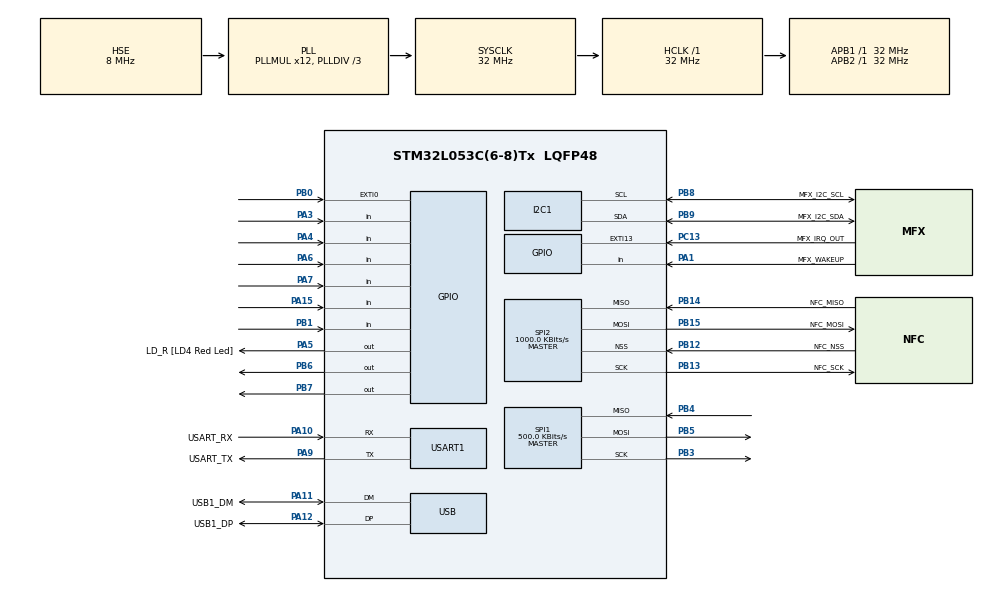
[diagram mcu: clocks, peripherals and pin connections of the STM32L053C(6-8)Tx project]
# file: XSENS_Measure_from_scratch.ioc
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Dma.Request0=USART1_RX
Dma.Request1=USART1_TX
Dma.USART1_RX.0.Direction=DMA_PERIPH_TO_MEMORY
Dma.USART1_RX.0.Instance=DMA1_Channel3
Dma.USART1_RX.0.MemDataAlignment=DMA_MDATAALIGN_BYTE
Dma.USART1_RX.0.MemInc=DMA_MINC_ENABLE
Dma.USART1_RX.0.Mode=DMA_CIRCULAR
Dma.USART1_RX.0.PeriphDataAlignment=DMA_PDATAALIGN_BYTE
Dma.USART1_RX.0.PeriphInc=DMA_PINC_DISABLE
Dma.USART1_RX.0.Priority=DMA_PRIORITY_LOW
Dma.USART1_TX.1.Direction=DMA_MEMORY_TO_PERIPH
Dma.USART1_TX.1.Instance=DMA1_Channel2
Dma.USART1_TX.1.MemDataAlignment=DMA_MDATAALIGN_BYTE
Dma.USART1_TX.1.MemInc=DMA_MINC_ENABLE
Dma.USART1_TX.1.Mode=DMA_NORMAL
Dma.USART1_TX.1.PeriphDataAlignment=DMA_PDATAALIGN_BYTE
Dma.USART1_TX.1.PeriphInc=DMA_PINC_DISABLE
Dma.USART1_TX.1.Priority=DMA_PRIORITY_LOW
Mcu.Family=STM32L0
Mcu.Name=STM32L053C(6-8)Tx
Mcu.Package=LQFP48
NVIC.DMA1_Channel2_3_IRQn=true\:0\:0\:false\:false\:true\:false\:true
NVIC.EXTI0_1_IRQn=true\:0\:0\:false\:false\:true\:true\:true
NVIC.EXTI4_15_IRQn=true\:0\:0\:false\:false\:true\:true\:true
PA1.GPIO_Label=MFX_WAKEUP
PA1.Signal=GPIO_Input
PA10.GPIO_Label=USART_RX
PA10.Mode=Asynchronous
PA10.Signal=USART1_RX
PA11.GPIO_Label=USB1_DM
PA11.Mode=Device
PA11.Signal=USB_DM
PA12.GPIO_Label=USB1_DP
PA12.Mode=Device
PA12.Signal=USB_DP
PA13.GPIO_Label=SWDIO
PA13.Mode=Serial_Wire
PA13.Signal=SYS_SWDIO
PA14.GPIO_Label=SWCLK
PA14.Mode=Serial_Wire
PA14.Signal=SYS_SWCLK
PA15.Signal=GPIO_Input
PA3.Signal=GPIO_Input
PA4.Signal=GPIO_Input
PA5.GPIO_Label=LD_R [LD4 Red Led]
PA5.GPIO_ModeDefaultOutputPP=GPIO_MODE_OUTPUT_PP
PA5.GPIO_PuPd=GPIO_NOPULL
PA5.GPIO_Speed=GPIO_SPEED_FREQ_LOW
PA5.Signal=GPIO_Output
PA6.Signal=GPIO_Input
PA7.Signal=GPIO_Input
PA9.GPIO_Label=USART_TX
PA9.Mode=Asynchronous
PA9.Signal=USART1_TX
PB0.Signal=GPXTI0
PB1.Signal=GPIO_Input
PB12.GPIO_Label=NFC_NSS
PB12.Mode=NSS_Signal_Hard_Input
PB12.Signal=SPI2_NSS
PB13.GPIO_Label=NFC_SCK
PB13.Mode=Full_Duplex_Master
PB13.Signal=SPI2_SCK
PB14.GPIO_Label=NFC_MISO
PB14.Mode=Full_Duplex_Master
PB14.Signal=SPI2_MISO
PB15.GPIO_Label=NFC_MOSI
PB15.Mode=Full_Duplex_Master
PB15.Signal=SPI2_MOSI
PB3.Mode=Full_Duplex_Master
PB3.Signal=SPI1_SCK
PB4.Mode=Full_Duplex_Master
PB4.Signal=SPI1_MISO
PB5.Mode=Full_Duplex_Master
PB5.Signal=SPI1_MOSI
PB6.Signal=GPIO_Output
PB7.Signal=GPIO_Output
PB8.GPIO_Label=MFX_I2C_SCL
PB8.Mode=I2C
PB8.Signal=I2C1_SCL
PB9.GPIO_Label=MFX_I2C_SDA
PB9.Mode=I2C
PB9.Signal=I2C1_SDA
PC13.GPIO_Label=MFX_IRQ_OUT
PC13.Signal=GPXTI13
PC14-OSC32_IN.GPIO_Label=PC14-OSC32_IN
PC14-OSC32_IN.Signal=RCC_OSC32_IN
PC15-OSC32_OUT.GPIO_Label=PC15-OSC32_OUT
PC15-OSC32_OUT.Signal=RCC_OSC32_OUT
PH0-OSC_IN.GPIO_Label=MCO
PH0-OSC_IN.Mode=HSE-External-Clock-Source
PH0-OSC_IN.Signal=RCC_OSC_IN
ProjectManager.HeapSize=0x200
ProjectManager.StackSize=0x400
ProjectManager.TargetToolchain=STM32CubeIDE
RCC.AHBFreq_Value=32000000
RCC.APB1Freq_Value=32000000
RCC.APB1TimFreq_Value=32000000
RCC.APB2Freq_Value=32000000
RCC.APB2TimFreq_Value=32000000
RCC.HCLKFreq_Value=32000000
RCC.HSE_VALUE=8000000
RCC.HSI16_VALUE=16000000
RCC.HSI48MClockSelection=RCC_USBCLKSOURCE_HSI48
RCC.HSI48_VALUE=48000000
RCC.HSI_VALUE=16000000
RCC.LSE_VALUE=32768
RCC.MSI_VALUE=2097000
RCC.PLLDIV=RCC_PLLDIV_3
RCC.PLLMUL=RCC_PLLMUL_12
RCC.PLLSourceVirtual=RCC_PLLSOURCE_HSE
RCC.RTCClockSelectionVirtual=RCC_RTCCLKSOURCE_LSE
RCC.SYSCLKFreq_VALUE=32000000
RCC.SYSCLKSource=RCC_SYSCLKSOURCE_PLLCLK
RCC.VCOOutputFreq_Value=96000000
SPI1.BaudRatePrescaler=SPI_BAUDRATEPRESCALER_64
SPI1.CLKPhase=SPI_PHASE_2EDGE
SPI1.CLKPolarity=SPI_POLARITY_HIGH
SPI1.CalculateBaudRate=500.0 KBits/s
SPI1.Direction=SPI_DIRECTION_2LINES
SPI1.Mode=SPI_MODE_MASTER
SPI1.VirtualType=VM_MASTER
SPI2.BaudRatePrescaler=SPI_BAUDRATEPRESCALER_32
SPI2.CLKPhase=SPI_PHASE_2EDGE
SPI2.CLKPolarity=SPI_POLARITY_HIGH
SPI2.CalculateBaudRate=1000.0 KBits/s
SPI2.Direction=SPI_DIRECTION_2LINES
SPI2.Mode=SPI_MODE_MASTER
SPI2.VirtualNSS=VM_NSSHARD
SPI2.VirtualType=VM_MASTER
USART1.VirtualMode-Asynchronous=VM_ASYNC
board=STM32L0538-DISCO

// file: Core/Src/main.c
/* USER CODE BEGIN Header */
/**
  ******************************************************************************
  * @file           : main.c
  * @brief          : Main program body
  ******************************************************************************
  * @attention
  *
  * <h2><center>&copy; Copyright (c) 2021 STMicroelectronics.
  * All rights reserved.</center></h2>
  *
  * This software component is licensed by ST under BSD 3-Clause license,
  * the "License"; You may not use this file except in compliance with the
  * License. You may obtain a copy of the License at:
  *                        opensource.org/licenses/BSD-3-Clause
  *
  ******************************************************************************
  */
/* USER CODE END Header */
#include "main.h"

/* USER CODE BEGIN Includes */
#include "string.h"
#include "stdio.h"
/* USER CODE END Includes */

/* USER CODE BEGIN PM */
#define CHIP_SELECT_PORT GPIOB
#define CHIP_SELECT_PIN GPIO_PIN_6
#define RESET_PORT GPIOB
#define RESET_PIN GPIO_PIN_7
#define DATA_READY_PORT GPIOA
#define DATA_READY_PIN GPIO_PIN_15
/* USER CODE END PM */

I2C_HandleTypeDef hi2c1;

SPI_HandleTypeDef hspi1;
SPI_HandleTypeDef hspi2;

UART_HandleTypeDef huart1;
DMA_HandleTypeDef hdma_usart1_rx;
DMA_HandleTypeDef hdma_usart1_tx;

PCD_HandleTypeDef hpcd_USB_FS;

/* USER CODE BEGIN PV */
int m_state = 0; //(0: Idle, 1: Wait for Wake, ...)
int event; //0 = event start, 1 = xbus message
uint8_t uart_buf[64];
uint8_t data[256];
struct XbusMessage{
	uint8_t m_mid;
	uint16_t m_length;
	uint8_t* m_data;
};

struct XbusMessage msg;
/* USER CODE END PV */

void SystemClock_Config(void);
static void MX_GPIO_Init(void);
static void MX_DMA_Init(void);
static void MX_I2C1_Init(void);
static void MX_SPI1_Init(void);
static void MX_SPI2_Init(void);
static void MX_USART1_UART_Init(void);
static void MX_USB_PCD_Init(void);

/* USER CODE BEGIN 0 */
void spi_write(uint8_t opcode, uint8_t const*data, int dataLength)
{
	HAL_GPIO_WritePin(CHIP_SELECT_PORT, CHIP_SELECT_PIN, GPIO_PIN_RESET);
	HAL_Delay(.04);
	uint8_t buffer[4];
	buffer[0] = opcode;
	buffer[1] = 0;
	buffer[2] = 0;
	buffer[3] = 0;
	HAL_SPI_Transmit(&hspi1, buffer, sizeof(buffer), 100);
	HAL_SPI_Transmit(&hspi1, (uint8_t*)data, dataLength, 100);
	HAL_Delay(.04);
	HAL_GPIO_WritePin(CHIP_SELECT_PORT, CHIP_SELECT_PIN, GPIO_PIN_SET);
}

void spi_read(uint8_t opcode, uint8_t* dest, int dataLength)
{
	HAL_GPIO_WritePin(CHIP_SELECT_PORT, CHIP_SELECT_PIN, GPIO_PIN_RESET);
	HAL_Delay(.04);
	uint8_t buffer[4];
	buffer[0] = opcode;
	buffer[1] = 0;
	buffer[2] = 0;
	buffer[3] = 0;
	HAL_SPI_Transmit(&hspi1, buffer, sizeof(buffer), 100);
	HAL_SPI_Receive(&hspi1, dest, dataLength, 100);
	HAL_Delay(.04);
	HAL_GPIO_WritePin(CHIP_SELECT_PORT, CHIP_SELECT_PIN, GPIO_PIN_SET);
}

void spi_write_raw(uint8_t const* data, int dataLength)
{
	HAL_GPIO_WritePin(CHIP_SELECT_PORT, CHIP_SELECT_PIN, GPIO_PIN_RESET);
	HAL_Delay(.04);
	HAL_SPI_Transmit(&hspi1, (uint8_t*)data, dataLength, 100);
	HAL_Delay(.04);
	HAL_GPIO_WritePin(CHIP_SELECT_PORT, CHIP_SELECT_PIN, GPIO_PIN_SET);
}

void print_string(char* phrase){
	strcpy((char*)uart_buf, phrase);
	HAL_UART_Transmit(&huart1, uart_buf, strlen((char*)uart_buf), 100);
}

void print_value(char* phrase, int value){
	strcpy((char*)uart_buf, phrase);
	HAL_UART_Transmit(&huart1, uart_buf, strlen((char*)uart_buf), 100);
	strcpy((char*)uart_buf, ": ");
	HAL_UART_Transmit(&huart1, uart_buf, strlen((char*)uart_buf), 100);
	sprintf((char*)uart_buf,"%d\r\n",value);
	HAL_UART_Transmit(&huart1, uart_buf, strlen((char*)uart_buf), 100);
}

void print_data(uint8_t* xbus_data, int size){
	for(int i =0;i<size;i++){
		sprintf((char*)uart_buf,"%02X ",xbus_data[i]);
		HAL_UART_Transmit(&huart1, uart_buf, strlen((char*)uart_buf), 100);
	}
	strcpy((char*)uart_buf, "\r\n");
	HAL_UART_Transmit(&huart1, uart_buf, strlen((char*)uart_buf), 100);
}

void print_device_id(char* phrase, uint32_t value){
	strcpy((char*)uart_buf, phrase);
	HAL_UART_Transmit(&huart1, uart_buf, strlen((char*)uart_buf), 100);
	strcpy((char*)uart_buf, ": ");
	HAL_UART_Transmit(&huart1, uart_buf, strlen((char*)uart_buf), 100);
	sprintf((char*)uart_buf,"%08lX\r\n",value);
	HAL_UART_Transmit(&huart1, uart_buf, strlen((char*)uart_buf), 100);
}

void print_euler(float roll, float pitch, float yaw){
	sprintf((char*)uart_buf,"Euler: Roll = %.2f, Pitch = %.2f, Yaw = %.2f\r\n",roll,pitch,yaw);
	HAL_UART_Transmit(&huart1, uart_buf, strlen((char*)uart_buf), 100);
}

void print_q(float W, float X, float Y, float Z){
	sprintf((char*)uart_buf,"Orientation: %.2f W, %.2f X, %.2f Y %.2f Z\r\n",W,X,Y,Z);
	HAL_UART_Transmit(&huart1, uart_buf, strlen((char*)uart_buf), 100);
}

void print_accel(float x, float y, float z){ // Theres something wrong with the way floats are handled.... !!!
	sprintf((char*)uart_buf,"Free Accel: %.2f X, %.2f Y, %.2f Z\r\n",x,y,z);
	HAL_UART_Transmit(&huart1, uart_buf, strlen((char*)uart_buf), 100);
}

void print_value_data(char* phrase, uint8_t* data, uint16_t length){
	uint8_t* ptr;
	ptr = data;
	strcpy((char*)uart_buf, phrase);
	HAL_UART_Transmit(&huart1, uart_buf, strlen((char*)uart_buf), 100);
	strcpy((char*)uart_buf, ": ");
	HAL_UART_Transmit(&huart1, uart_buf, strlen((char*)uart_buf), 100);
	for(uint16_t n=0;n<length;n++){
		sprintf((char*)uart_buf,"%02X",*ptr);
		HAL_UART_Transmit(&huart1, uart_buf, strlen((char*)uart_buf), 100);
		strcpy((char*)uart_buf, ", ");
		HAL_UART_Transmit(&huart1, uart_buf, strlen((char*)uart_buf), 100);
		++ptr;
	}
	strcpy((char*)uart_buf, "\r\n");
	HAL_UART_Transmit(&huart1, uart_buf, strlen((char*)uart_buf), 100);
}

void reset_device(){
	HAL_GPIO_WritePin(RESET_PORT, RESET_PIN, GPIO_PIN_SET);
	HAL_Delay(1);
	HAL_GPIO_WritePin(RESET_PORT, RESET_PIN, GPIO_PIN_RESET);
}

int getMessageID(const uint8_t* xbusMessage){
	return(xbusMessage[2] & 0xff);
}

int checkDataReadyLine(){
	//print_string("in check\r\n");
	if(HAL_GPIO_ReadPin(DATA_READY_PORT, DATA_READY_PIN) == GPIO_PIN_SET){
		return 1;
	}
	return 0;

}

void readPipeStatus(uint16_t* notificationMessageSize, uint16_t* measurementMessageSize){
	uint8_t status[4];
	spi_read(0x04, status, 4);
	*notificationMessageSize = status[0] | (status[1] << 8);
	*measurementMessageSize = status[2] | (status[3] << 8);
}

void readFromPipe(uint8_t* buffer, uint16_t size, uint8_t pipe){
	spi_read(pipe,buffer,size);
}

size_t XbusMessage_createRawMessage(uint8_t* dest, struct XbusMessage* message){
	int n;
	uint8_t checksum;
	uint16_t length;
	uint8_t* dptr;
	dptr = dest;

	if(dest == 0){
		//print_string("uh oh\r\n");
		return (message->m_length < 255)? message->m_length + 7 : message->m_length + 9;
	}

	*dptr++ = 0x03; //XBUS Control Pipe
	//Fill bytes required for SPI:
	*dptr++ = 0;
	*dptr++ = 0;
	*dptr++ = 0;

	checksum = 0;
	checksum -= 0xFF; //XBUS Masterdevice

	*dptr = message->m_mid;
	checksum -= *dptr++;
	length = message->m_length;
	if(length<0xFF){ // less than XBUS Extended Length
		*dptr = length;
		checksum -= *dptr++;
	}
	else{
		*dptr = 0xFF;
		checksum -= *dptr++;
		*dptr = length >> 8;
		checksum -= *dptr++;
		*dptr = length & 0xFF;
		checksum -= *dptr++;
	}
	for(n = 0; n < message->m_length; n++){
		//print_string("ADDING DATA\r\n");
		*dptr = message->m_data[n];
		checksum-= *dptr++;
	}
	*dptr++ = checksum;
	//print_value("rawLength = ",(dptr - dest));
	return dptr - dest;
}

int checkPreamble(const uint8_t* xbusMessage){
	return (xbusMessage[0] == 0XFA);
}

uint32_t readUint32_helper(const uint8_t* data, int* index){
	uint32_t result = 0;
	result |= data[(*index)++] << 24;
	result |= data[(*index)++] << 16;
	result |= data[(*index)++] << 8;
	result |= data[(*index)++] << 0;
	return result;
}

uint16_t readUint16_helper(const uint8_t* data, int* index){
	uint16_t result = 0;
	result |= data[(*index)++] << 8;
	result |= data[(*index)++] << 0;
	return result;
}

uint8_t readUint8_helper(const uint8_t* data, int* index){
	uint8_t result = data[(*index)++];
	return result;
}

float readFloat(const uint8_t* data, int* index){
	uint32_t temp = readUint32_helper(data,index);
	float result;
	memcpy(&result, &temp, 4);
	return result;
}

void sendXbusMessage(struct XbusMessage* xbusMessage){
	uint8_t buffer[128];
	size_t rawLength = XbusMessage_createRawMessage(buffer,xbusMessage);
	//print_value_data("Xbus Message",buffer,rawLength);
	spi_write_raw(buffer,rawLength);
}

void print_sample(const uint8_t* xbus_data, int size){
	int i = 4;
	do{
		uint16_t dataID = readUint16_helper(xbus_data, &i); // <-- Grab First Data ID
		i++; // <-- account for dataSize byte
		switch(dataID){
			case(0x2030): //<-- Euler Angles
			{
				int roll = readFloat(xbus_data, &i);
				int pitch = readFloat(xbus_data, &i);
				int yaw = readFloat(xbus_data, &i);
				print_euler(roll,pitch,yaw);
			}break;
			case(0x2010): //<-- Quaternions
			{
				float W = readFloat(xbus_data, &i);
				float X = readFloat(xbus_data, &i);
				float Y = readFloat(xbus_data, &i);
				float Z = readFloat(xbus_data, &i);
				print_q(W,X,Y,Z);
			}break;
			case(0x4030):
			{
				float accelX = readFloat(xbus_data, &i);
				float accelY = readFloat(xbus_data, &i);
				float accelZ = readFloat(xbus_data, &i);
				print_accel(accelX,accelY,accelZ);
			}break;
			case(0x1020): // <-- packet counter
			{
				uint16_t packet = readUint16_helper(xbus_data, &i);
				print_value("Packet: ",packet);
				print_string("\r\n");
			}break;
			default:
			{
				print_string("Unknown Data ID :(");
			}break;
		}
	}while(i<size-1);

}

void xbusToString(const uint8_t* xbusData){ //<-- THIS IS GLOBAL DATA NOT XBUS DATA DEFINED IN OTHER FUNCTION
	if(!checkPreamble(xbusData)) print_string("Invalid Xbus Message :(\r\n");

	uint8_t messageID = getMessageID(xbusData);
	int index = 4;

	switch(messageID){
		case(62): //Wake up
		{
			print_string("XMID Wakeup Message\r\n");
		}break;
		case(1): //device ID
		{
			uint32_t deviceID = readUint32_helper(xbusData, &index);
			print_device_id("Device ID: ",deviceID);
		}break;
		case(49): //Go to Config Ack
		{
			print_string("XMID Go to Config ACK\r\n");
		}break;
		case(17): //Go to Measurement ACK
		{
			print_string("XMID Go to Measurement ACK\r\n");
		}break;
		case(54): //XMID MtData2
		{

			//Length is always data length + 4

			//print_data(xbusData, 38);

			print_sample(xbusData, 43);

		}break;
		default:
			{
				print_string("Unhandled Xbus Message... idk what that is!!\r\n");
			}
	}
}

void handleEvent(int event, const uint8_t* data){
	switch(m_state)
	{
		case(0):
		{
			if(event==0)
			{
				print_string("Resetting the device\r\n");
				reset_device();
				m_state = 1; //wait for wakeup
			}
		}break;
		case(1):
		{
			print_string("Trying to See Wakeup from Device\r\n");
			if(event == 1 && getMessageID(data) == 62) //XMID_Wakeup = 62
			{
				print_string("Got Wakeup from Device!\r\n");
				msg.m_mid = 48; //GotoConfig
				sendXbusMessage(&msg);
				m_state = 2; //wait for config
			}
		}break;
		case(2):
		{
			msg.m_mid = 0; //ReqID
			sendXbusMessage(&msg);
			m_state = 3; //wait for device ID
		}break;
		case(3):
		{
			if(event == 1 && getMessageID(data) == 1){
				print_string("Got Device ID\r\n");
				msg.m_mid = 18; // req firmware version
				sendXbusMessage(&msg);
				m_state = 4; //wait for firmware revision
			}
		}break;
		case(4):
		{
			if(event == 1 && getMessageID(data) == 19){
				print_string("Got firmware revision\r\n");
				//uint8_t xbusData[] = {0x10,0x20,0xFF,0xFF,0x20,0x30,0x00,0x0A,0x40,0x20,0x00,0x0A}; // Euler Angles AND Acceleration at 10 Hz
				//uint8_t xbusData[] = {0x10,0x20,0xFF,0xFF,0x20,0x10,0x00,0x0A,0x40,0x30,0x00,0x0A}; // <-- THIS IS PACKET COUNTER, QUATERNION w/ F32 & ENU, FREE ACCEL w/ F32 & ENU
				uint8_t xbusData[] = {0x10,0x20,0xFF,0xFF,0x40,0x30,0x00,0x0A,0x20,0x10,0x00,0x0A}; //Quaternion angles at 1 Hz
				//uint8_t xbusData[] = {0x10,0x20,0xFF,0xFF}; // Just Packet Counter
				//uint8_t xbusData[] = {0x40,0x20,0x00,0x0A}; //Acceleration at 10 Hz
				msg.m_mid = 192;  //set output config
				msg.m_length = 12; // <-- YOU HAVE TO CHANGE THIS MANUALLY
				msg.m_data = (uint8_t*)&xbusData;
				//print_value("M_MID Value is", msg.m_mid);
				//print_value("M_LENGTH Value is", msg.m_length);
				//print_value_data("M_DATA Value is", msg.m_data,msg.m_length);
				sendXbusMessage(&msg);
				//print_string("Packet Counter, Quaternion, Free Acceleration 10 Hz Config\r\n.\r\n.\r\n.\r\n");
				print_string("Just sending Acceleration");
				//print_string("Sent Acceleration at 10 Hz Config\r\n.\r\n.\r\n.\r\n");
				m_state = 5; //wait for set output configuration ack
			}
		}break;
		case(5):
		{
			if(event == 1 && getMessageID(data) == 193){
			//if(event == 1){
				print_string("Output Config Written to Device :-)\r\n");

				HAL_Delay(100);
				print_string("Sending Go to Measurement!!\r\n");
				msg.m_mid = 16;
				msg.m_length = 0;
				uint8_t empty[] = {};
				msg.m_data = empty;
				sendXbusMessage(&msg);
				m_state = 6; //READY
			}
		}break;
		case(6):
		{
			if(event == 1){
				//xbus to string (data)
				xbusToString(data);
				//print data
			}
		}break;

	}
}

void readDataFromDevice(){
	uint16_t notificationMessageSize;
	uint16_t measurementMessageSize;
	readPipeStatus(&notificationMessageSize, &measurementMessageSize);
	data[0] = 0xFA;
	data[1] = 0xFF;

	if((notificationMessageSize != 0) && (notificationMessageSize < sizeof(data))){
		readFromPipe(&data[2],notificationMessageSize, 0x05);
		handleEvent(1,data);
	}
	if((measurementMessageSize != 0) && (measurementMessageSize < sizeof(data))){
		readFromPipe(&data[2],measurementMessageSize, 0x06);
		handleEvent(1,data);
	}
}

/* USER CODE END 0 */

int main(void)
{

  /* MCU Configuration--------------------------------------------------------*/

  /* Reset of all peripherals, Initializes the Flash interface and the Systick. */
  HAL_Init();

  /* Configure the system clock */
  SystemClock_Config();

  /* Initialize all configured peripherals */
  MX_GPIO_Init();
  MX_DMA_Init();
  MX_I2C1_Init();
  MX_SPI1_Init();
  MX_SPI2_Init();
  MX_USART1_UART_Init();
  MX_USB_PCD_Init();
  /* USER CODE BEGIN 2 */
  handleEvent(0,data);

  HAL_Delay(100);

  if(checkDataReadyLine()==1){
	  print_string("Data Ready Triggered");
	  readDataFromDevice();
  }
  else{
	  print_string("Did not find data ready");
  }

  /* USER CODE END 2 */

  /* Infinite loop */
  while (1)
  {

    /* USER CODE BEGIN 3 */
	  if(checkDataReadyLine()){
		  //print_string("receiving messaage!\r\n");
		  readDataFromDevice();
	  }
  }
  /* USER CODE END 3 */
}

void SystemClock_Config(void)
{
  RCC_OscInitTypeDef RCC_OscInitStruct = {0};
  RCC_ClkInitTypeDef RCC_ClkInitStruct = {0};
  RCC_PeriphCLKInitTypeDef PeriphClkInit = {0};

  /** Configure the main internal regulator output voltage
  */
  __HAL_PWR_VOLTAGESCALING_CONFIG(PWR_REGULATOR_VOLTAGE_SCALE1);
  /** Initializes the RCC Oscillators according to the specified parameters
  * in the RCC_OscInitTypeDef structure.
  */
  RCC_OscInitStruct.OscillatorType = RCC_OSCILLATORTYPE_HSE|RCC_OSCILLATORTYPE_HSI48;
  RCC_OscInitStruct.HSEState = RCC_HSE_BYPASS;
  RCC_OscInitStruct.HSI48State = RCC_HSI48_ON;
  RCC_OscInitStruct.PLL.PLLState = RCC_PLL_ON;
  RCC_OscInitStruct.PLL.PLLSource = RCC_PLLSOURCE_HSE;
  RCC_OscInitStruct.PLL.PLLMUL = RCC_PLLMUL_12;
  RCC_OscInitStruct.PLL.PLLDIV = RCC_PLLDIV_3;
  if (HAL_RCC_OscConfig(&RCC_OscInitStruct) != HAL_OK)
  {
    Error_Handler();
  }
  /** Initializes the CPU, AHB and APB buses clocks
  */
  RCC_ClkInitStruct.ClockType = RCC_CLOCKTYPE_HCLK|RCC_CLOCKTYPE_SYSCLK
                              |RCC_CLOCKTYPE_PCLK1|RCC_CLOCKTYPE_PCLK2;
  RCC_ClkInitStruct.SYSCLKSource = RCC_SYSCLKSOURCE_PLLCLK;
  RCC_ClkInitStruct.AHBCLKDivider = RCC_SYSCLK_DIV1;
  RCC_ClkInitStruct.APB1CLKDivider = RCC_HCLK_DIV1;
  RCC_ClkInitStruct.APB2CLKDivider = RCC_HCLK_DIV1;

  if (HAL_RCC_ClockConfig(&RCC_ClkInitStruct, FLASH_LATENCY_1) != HAL_OK)
  {
    Error_Handler();
  }
  PeriphClkInit.PeriphClockSelection = RCC_PERIPHCLK_USART1|RCC_PERIPHCLK_I2C1
                              |RCC_PERIPHCLK_USB;
  PeriphClkInit.Usart1ClockSelection = RCC_USART1CLKSOURCE_PCLK2;
  PeriphClkInit.I2c1ClockSelection = RCC_I2C1CLKSOURCE_PCLK1;
  PeriphClkInit.UsbClockSelection = RCC_USBCLKSOURCE_HSI48;
  if (HAL_RCCEx_PeriphCLKConfig(&PeriphClkInit) != HAL_OK)
  {
    Error_Handler();
  }
}

static void MX_I2C1_Init(void)
{

  hi2c1.Instance = I2C1;
  hi2c1.Init.Timing = 0x00000708;
  hi2c1.Init.OwnAddress1 = 0;
  hi2c1.Init.AddressingMode = I2C_ADDRESSINGMODE_7BIT;
  hi2c1.Init.DualAddressMode = I2C_DUALADDRESS_DISABLE;
  hi2c1.Init.OwnAddress2 = 0;
  hi2c1.Init.OwnAddress2Masks = I2C_OA2_NOMASK;
  hi2c1.Init.GeneralCallMode = I2C_GENERALCALL_DISABLE;
  hi2c1.Init.NoStretchMode = I2C_NOSTRETCH_DISABLE;
  if (HAL_I2C_Init(&hi2c1) != HAL_OK)
  {
    Error_Handler();
  }
  /** Configure Analogue filter
  */
  if (HAL_I2CEx_ConfigAnalogFilter(&hi2c1, I2C_ANALOGFILTER_ENABLE) != HAL_OK)
  {
    Error_Handler();
  }
  /** Configure Digital filter
  */
  if (HAL_I2CEx_ConfigDigitalFilter(&hi2c1, 0) != HAL_OK)
  {
    Error_Handler();
  }

}

static void MX_SPI1_Init(void)
{

  /* SPI1 parameter configuration*/
  hspi1.Instance = SPI1;
  hspi1.Init.Mode = SPI_MODE_MASTER;
  hspi1.Init.Direction = SPI_DIRECTION_2LINES;
  hspi1.Init.DataSize = SPI_DATASIZE_8BIT;
  hspi1.Init.CLKPolarity = SPI_POLARITY_HIGH;
  hspi1.Init.CLKPhase = SPI_PHASE_2EDGE;
  hspi1.Init.NSS = SPI_NSS_SOFT;
  hspi1.Init.BaudRatePrescaler = SPI_BAUDRATEPRESCALER_64;
  hspi1.Init.FirstBit = SPI_FIRSTBIT_MSB;
  hspi1.Init.TIMode = SPI_TIMODE_DISABLE;
  hspi1.Init.CRCCalculation = SPI_CRCCALCULATION_DISABLE;
  hspi1.Init.CRCPolynomial = 7;
  if (HAL_SPI_Init(&hspi1) != HAL_OK)
  {
    Error_Handler();
  }

}

static void MX_SPI2_Init(void)
{

  /* SPI2 parameter configuration*/
  hspi2.Instance = SPI2;
  hspi2.Init.Mode = SPI_MODE_MASTER;
  hspi2.Init.Direction = SPI_DIRECTION_2LINES;
  hspi2.Init.DataSize = SPI_DATASIZE_8BIT;
  hspi2.Init.CLKPolarity = SPI_POLARITY_HIGH;
  hspi2.Init.CLKPhase = SPI_PHASE_2EDGE;
  hspi2.Init.NSS = SPI_NSS_HARD_INPUT;
  hspi2.Init.BaudRatePrescaler = SPI_BAUDRATEPRESCALER_32;
  hspi2.Init.FirstBit = SPI_FIRSTBIT_MSB;
  hspi2.Init.TIMode = SPI_TIMODE_DISABLE;
  hspi2.Init.CRCCalculation = SPI_CRCCALCULATION_DISABLE;
  hspi2.Init.CRCPolynomial = 7;
  if (HAL_SPI_Init(&hspi2) != HAL_OK)
  {
    Error_Handler();
  }

}

static void MX_USART1_UART_Init(void)
{

  huart1.Instance = USART1;
  huart1.Init.BaudRate = 115200; //9600 for science computer <---------
  huart1.Init.WordLength = UART_WORDLENGTH_8B;
  huart1.Init.StopBits = UART_STOPBITS_1;
  huart1.Init.Parity = UART_PARITY_NONE;
  huart1.Init.Mode = UART_MODE_TX_RX;
  huart1.Init.HwFlowCtl = UART_HWCONTROL_NONE;
  huart1.Init.OverSampling = UART_OVERSAMPLING_16;
  huart1.Init.OneBitSampling = UART_ONE_BIT_SAMPLE_DISABLE;
  huart1.AdvancedInit.AdvFeatureInit = UART_ADVFEATURE_NO_INIT;
  if (HAL_UART_Init(&huart1) != HAL_OK)
  {
    Error_Handler();
  }

}

static void MX_USB_PCD_Init(void)
{

  hpcd_USB_FS.Instance = USB;
  hpcd_USB_FS.Init.dev_endpoints = 8;
  hpcd_USB_FS.Init.speed = PCD_SPEED_FULL;
  hpcd_USB_FS.Init.phy_itface = PCD_PHY_EMBEDDED;
  hpcd_USB_FS.Init.low_power_enable = DISABLE;
  hpcd_USB_FS.Init.lpm_enable = DISABLE;
  hpcd_USB_FS.Init.battery_charging_enable = DISABLE;
  if (HAL_PCD_Init(&hpcd_USB_FS) != HAL_OK)
  {
    Error_Handler();
  }

}

static void MX_DMA_Init(void)
{

  /* DMA controller clock enable */
  __HAL_RCC_DMA1_CLK_ENABLE();

  /* DMA interrupt init */
  /* DMA1_Channel2_3_IRQn interrupt configuration */
  HAL_NVIC_SetPriority(DMA1_Channel2_3_IRQn, 0, 0);
  HAL_NVIC_EnableIRQ(DMA1_Channel2_3_IRQn);

}

static void MX_GPIO_Init(void)
{
  GPIO_InitTypeDef GPIO_InitStruct = {0};

  /* GPIO Ports Clock Enable */
  __HAL_RCC_GPIOC_CLK_ENABLE();
  __HAL_RCC_GPIOH_CLK_ENABLE();
  __HAL_RCC_GPIOA_CLK_ENABLE();
  __HAL_RCC_GPIOB_CLK_ENABLE();

  /*Configure GPIO pin Output Level */
  HAL_GPIO_WritePin(LD_R_GPIO_Port, LD_R_Pin, GPIO_PIN_RESET);

  /*Configure GPIO pin Output Level */
  HAL_GPIO_WritePin(GPIOB, GPIO_PIN_6|GPIO_PIN_7, GPIO_PIN_RESET);

  /*Configure GPIO pin : MFX_IRQ_OUT_Pin */
  GPIO_InitStruct.Pin = MFX_IRQ_OUT_Pin;
  GPIO_InitStruct.Mode = GPIO_MODE_IT_RISING;
  GPIO_InitStruct.Pull = GPIO_NOPULL;
  HAL_GPIO_Init(MFX_IRQ_OUT_GPIO_Port, &GPIO_InitStruct);

  /*Configure GPIO pins : MFX_WAKEUP_Pin PA3 PA4 PA6
                           PA7 PA15 */
  GPIO_InitStruct.Pin = MFX_WAKEUP_Pin|GPIO_PIN_3|GPIO_PIN_4|GPIO_PIN_6
                          |GPIO_PIN_7|GPIO_PIN_15;
  GPIO_InitStruct.Mode = GPIO_MODE_INPUT;
  GPIO_InitStruct.Pull = GPIO_NOPULL;
  HAL_GPIO_Init(GPIOA, &GPIO_InitStruct);

  /*Configure GPIO pin : LD_R_Pin */
  GPIO_InitStruct.Pin = LD_R_Pin;
  GPIO_InitStruct.Mode = GPIO_MODE_OUTPUT_PP;
  GPIO_InitStruct.Pull = GPIO_NOPULL;
  GPIO_InitStruct.Speed = GPIO_SPEED_FREQ_LOW;
  HAL_GPIO_Init(LD_R_GPIO_Port, &GPIO_InitStruct);

  /*Configure GPIO pin : PB0 */
  GPIO_InitStruct.Pin = GPIO_PIN_0;
  GPIO_InitStruct.Mode = GPIO_MODE_IT_RISING;
  GPIO_InitStruct.Pull = GPIO_NOPULL;
  HAL_GPIO_Init(GPIOB, &GPIO_InitStruct);

  /*Configure GPIO pin : PB1 */
  GPIO_InitStruct.Pin = GPIO_PIN_1;
  GPIO_InitStruct.Mode = GPIO_MODE_INPUT;
  GPIO_InitStruct.Pull = GPIO_NOPULL;
  HAL_GPIO_Init(GPIOB, &GPIO_InitStruct);

  /*Configure GPIO pins : PB6 PB7 */
  GPIO_InitStruct.Pin = GPIO_PIN_6|GPIO_PIN_7;
  GPIO_InitStruct.Mode = GPIO_MODE_OUTPUT_PP;
  GPIO_InitStruct.Pull = GPIO_NOPULL;
  GPIO_InitStruct.Speed = GPIO_SPEED_FREQ_LOW;
  HAL_GPIO_Init(GPIOB, &GPIO_InitStruct);

  /* EXTI interrupt init*/
  HAL_NVIC_SetPriority(EXTI0_1_IRQn, 0, 0);
  HAL_NVIC_EnableIRQ(EXTI0_1_IRQn);

  HAL_NVIC_SetPriority(EXTI4_15_IRQn, 0, 0);
  HAL_NVIC_EnableIRQ(EXTI4_15_IRQn);

}

void Error_Handler(void)
{
  __disable_irq();
  while (1)
  {
  }
}

/************************ (C) COPYRIGHT STMicroelectronics *****END OF FILE****/
